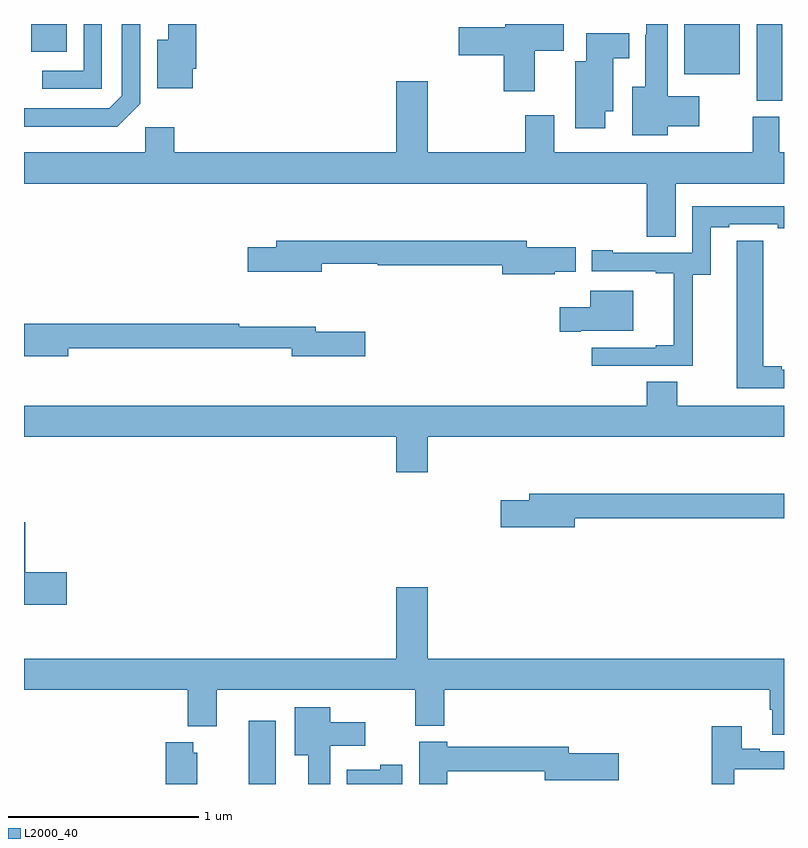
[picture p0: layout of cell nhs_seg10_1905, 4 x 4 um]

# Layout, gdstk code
import gdstk
lib = gdstk.Library(unit=1e-6, precision=1e-09)
def R(c, l, rs):  # rectangles x0, y0, x1, y1
    for r in rs: c.add(gdstk.rectangle(r[:2], r[2:], *l))
def P(c, l, *ps):  # polygons
    for p in ps: c.add(gdstk.Polygon(p, *l))
L2000_40 = (2000, 40)

nhs_seg10_1905 = lib.new_cell('nhs_seg10_1905')
R(nhs_seg10_1905, L2000_40, [(212.183,1286.5,212.326,1286.833), (214.856,1290.097,214.99,1290.5), (214.475,1290.236,214.768,1290.5), (211.037,1290.353,211.225,1290.5)])
P(nhs_seg10_1905, L2000_40, [(211.41,1290.5),(211.314,1290.5),(211.314,1290.255),(211.095,1290.255),(211.095,1290.159),(211.41,1290.159)],
  [(214.387,1289.963),(214.555,1289.963),(214.555,1290.121),(214.387,1290.121),(214.387,1290.5),(214.275,1290.5),(214.275,1290.443),(214.271,1290.443),(214.271,1290.169),(214.202,1290.169),(214.202,1289.915),(214.387,1289.915)],
  [(213.688,1290.358),(213.841,1290.358),(213.841,1290.5),(213.533,1290.5),(213.533,1290.482),(213.288,1290.482),(213.288,1290.335),(213.526,1290.335),(213.526,1290.147),(213.688,1290.147)],
  [(211.888,1290.265),(211.907,1290.265),(211.907,1290.5),(211.76,1290.5),(211.76,1290.418),(211.7,1290.418),(211.7,1290.161),(211.888,1290.161)],
  [(211.611,1290.081),(211.611,1290.5),(211.515,1290.5),(211.515,1290.123),(211.449,1290.057),(211,1290.057),(211,1289.96),(211.49,1289.96)],
  [(214.06,1290.041),(214.102,1290.041),(214.102,1290.32),(214.186,1290.32),(214.186,1290.451),(213.959,1290.451),(213.959,1290.304),(213.902,1290.304),(213.902,1289.952),(214.06,1289.952)],
  [(214.429,1289.66),(215,1289.66),(215,1289.824),(214.975,1289.824),(214.975,1290.012),(214.835,1290.012),(214.835,1289.824),(213.79,1289.824),(213.79,1290.019),(213.638,1290.019),(213.638,1289.824),(213.124,1289.824),(213.124,1290.199),(212.96,1290.199),(212.96,1289.824),(211.79,1289.824),(211.79,1289.956),(211.638,1289.956),(211.638,1289.824),(211,1289.824),(211,1289.66),(214.277,1289.66),(214.277,1289.38),(214.429,1289.38)],
  [(214.521,1289.179),(214.615,1289.179),(214.615,1289.43),(214.711,1289.43),(214.711,1289.445),(214.967,1289.445),(214.967,1289.425),(215,1289.425),(215,1289.541),(214.518,1289.541),(214.518,1289.295),(214.099,1289.295),(214.099,1289.308),(213.989,1289.308),(213.989,1289.199),(214.325,1289.199),(214.325,1289.187),(214.421,1289.187),(214.421,1288.81),(214.325,1288.81),(214.325,1288.797),(213.987,1288.797),(213.987,1288.701),(214.521,1288.701)],
  [(215,1288.68),(214.987,1288.68),(214.987,1288.7),(214.891,1288.7),(214.891,1289.36),(214.752,1289.36),(214.752,1289.252),(214.751,1289.252),(214.751,1288.584),(215,1288.584)],
  [(213.794,1289.195),(213.904,1289.195),(213.904,1289.325),(213.646,1289.325),(213.646,1289.359),(212.327,1289.359),(212.327,1289.325),(212.178,1289.325),(212.178,1289.195),(212.566,1289.195),(212.566,1289.238),(212.862,1289.238),(212.862,1289.23),(213.518,1289.23),(213.518,1289.183),(213.794,1289.183)],
  [(213.931,1288.886),(214.207,1288.886),(214.207,1289.095),(213.98,1289.095),(213.98,1289.008),(213.819,1289.008),(213.819,1288.879),(213.931,1288.879)],
  [(211.234,1288.794),(212.408,1288.794),(212.408,1288.751),(212.797,1288.751),(212.797,1288.881),(212.536,1288.881),(212.536,1288.907),(212.132,1288.907),(212.132,1288.922),(211,1288.922),(211,1288.751),(211.234,1288.751)],
  [(213.124,1288.328),(215,1288.328),(215,1288.492),(214.437,1288.492),(214.437,1288.616),(214.277,1288.616),(214.277,1288.492),(211,1288.492),(211,1288.328),(212.96,1288.328),(212.96,1288.14),(213.124,1288.14)],
  [(213.898,1287.898),(215,1287.898),(215,1288.027),(213.659,1288.027),(213.659,1287.993),(213.51,1287.993),(213.51,1287.851),(213.898,1287.851)],
  [(211.225,1287.614),(211.007,1287.614),(211.007,1287.877),(211,1287.877),(211,1287.443),(211.225,1287.443)],
  [(215,1287.16),(213.124,1287.16),(213.124,1287.535),(212.96,1287.535),(212.96,1287.16),(211,1287.16),(211,1286.996),(211.862,1286.996),(211.862,1286.804),(212.014,1286.804),(212.014,1286.996),(213.059,1286.996),(213.059,1286.807),(213.212,1286.807),(213.212,1286.996),(214.925,1286.996),(214.925,1286.89),(214.937,1286.89),(214.937,1286.758),(215,1286.758)],
  [(212.611,1286.702),(212.797,1286.702),(212.797,1286.824),(212.611,1286.824),(212.611,1286.905),(212.426,1286.905),(212.426,1286.651),(212.495,1286.651),(212.495,1286.5),(212.611,1286.5)],
  [(214.737,1286.577),(215,1286.577),(215,1286.673),(214.873,1286.673),(214.873,1286.686),(214.777,1286.686),(214.777,1286.803),(214.621,1286.803),(214.621,1286.5),(214.737,1286.5)],
  [(213.227,1286.566),(213.74,1286.566),(213.74,1286.519),(214.129,1286.519),(214.129,1286.661),(213.868,1286.661),(213.868,1286.695),(213.227,1286.695),(213.227,1286.722),(213.08,1286.722),(213.08,1286.5),(213.227,1286.5)],
  [(211.912,1286.665),(211.89,1286.665),(211.89,1286.719),(211.745,1286.719),(211.745,1286.5),(211.912,1286.5)],
  [(212.992,1286.602),(212.874,1286.602),(212.874,1286.575),(212.699,1286.575),(212.699,1286.5),(212.992,1286.5)])

lib.write_gds('nhs_seg10_1905.gds')
